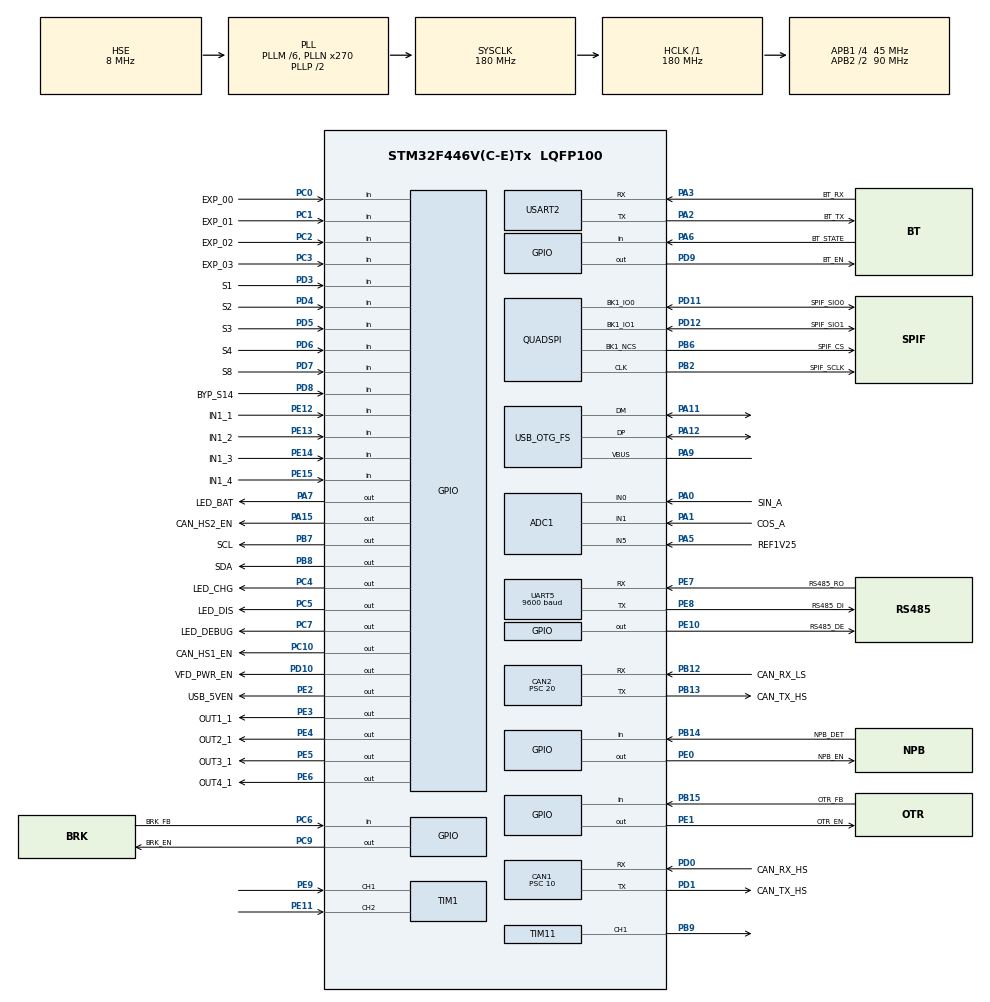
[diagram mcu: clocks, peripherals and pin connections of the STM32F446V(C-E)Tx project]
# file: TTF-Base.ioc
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ADC1.Channel-3\#ChannelRegularConversion=ADC_CHANNEL_1
ADC1.NbrOfConversionFlag=1
ADC1.Rank-3\#ChannelRegularConversion=1
ADC1.SamplingTime-3\#ChannelRegularConversion=ADC_SAMPLETIME_3CYCLES
ADC1.master=1
CAN1.ABOM=ENABLE
CAN1.AWUM=DISABLE
CAN1.BS1=CAN_BS1_15TQ
CAN1.BS2=CAN_BS2_2TQ
CAN1.CalculateBaudRate=250000
CAN1.CalculateTimeBit=4000
CAN1.CalculateTimeQuantum=222.22222222222223
CAN1.Mode=CAN_MODE_NORMAL
CAN1.NART=ENABLE
CAN1.Prescaler=10
CAN1.SJW=CAN_SJW_1TQ
CAN2.ABOM=ENABLE
CAN2.AWUM=DISABLE
CAN2.BS1=CAN_BS1_15TQ
CAN2.BS2=CAN_BS2_2TQ
CAN2.CalculateBaudRate=125000
CAN2.CalculateTimeBit=8000
CAN2.CalculateTimeQuantum=444.44444444444446
CAN2.NART=ENABLE
CAN2.Prescaler=20
Mcu.Family=STM32F4
Mcu.Name=STM32F446V(C-E)Tx
Mcu.Package=LQFP100
NVIC.CAN1_RX0_IRQn=true\:0\:0\:false\:false\:true\:true\:true\:true
NVIC.CAN1_RX1_IRQn=true\:0\:0\:false\:false\:true\:true\:true\:true
NVIC.CAN1_SCE_IRQn=true\:0\:0\:false\:false\:true\:true\:true\:true
NVIC.CAN1_TX_IRQn=true\:0\:0\:false\:false\:true\:true\:true\:true
NVIC.CAN2_RX0_IRQn=true\:0\:0\:false\:false\:true\:true\:true\:true
NVIC.CAN2_RX1_IRQn=true\:0\:0\:false\:false\:true\:true\:true\:true
NVIC.CAN2_SCE_IRQn=true\:0\:0\:false\:false\:true\:true\:true\:true
NVIC.CAN2_TX_IRQn=true\:0\:0\:false\:false\:true\:true\:true\:true
NVIC.OTG_FS_IRQn=true\:0\:0\:false\:false\:true\:false\:true\:true
NVIC.PriorityGroup=NVIC_PRIORITYGROUP_4
NVIC.UART5_IRQn=true\:0\:0\:false\:false\:true\:true\:true\:true
PA0-WKUP.GPIO_Label=SIN_A
PA0-WKUP.Signal=ADCx_IN0
PA1.GPIO_Label=COS_A
PA1.Signal=ADCx_IN1
PA11.Mode=Device_Only
PA11.Signal=USB_OTG_FS_DM
PA12.Mode=Device_Only
PA12.Signal=USB_OTG_FS_DP
PA13.Mode=Serial_Wire
PA13.Signal=SYS_JTMS-SWDIO
PA14.Mode=Serial_Wire
PA14.Signal=SYS_JTCK-SWCLK
PA15.GPIO_Label=CAN_HS2_EN
PA15.Signal=GPIO_Output
PA2.GPIO_Label=BT_TX
PA2.Mode=Asynchronous
PA2.Signal=USART2_TX
PA3.GPIO_Label=BT_RX
PA3.GPIO_PuPd=GPIO_PULLUP
PA3.Mode=Asynchronous
PA3.Signal=USART2_RX
PA5.GPIO_Label=REF1V25
PA5.Signal=ADCx_IN5
PA6.GPIO_Label=BT_STATE
PA6.Signal=GPIO_Input
PA7.GPIO_Label=LED_BAT
PA7.Signal=GPIO_Output
PA9.Mode=Activate_VBUS
PA9.Signal=USB_OTG_FS_VBUS
PB12.GPIO_Label=CAN_RX_LS
PB12.Mode=CAN_Activate
PB12.Signal=CAN2_RX
PB13.GPIO_Label=CAN_TX_HS
PB13.Mode=CAN_Activate
PB13.Signal=CAN2_TX
PB14.GPIO_Label=NPB_DET
PB14.GPIO_PuPd=GPIO_NOPULL
PB14.Signal=GPIO_Input
PB15.GPIO_Label=OTR_FB
PB15.GPIO_PuPd=GPIO_PULLDOWN
PB15.Signal=GPIO_Input
PB2.GPIO_Label=SPIF_SCLK
PB2.Mode=Single Bank 1 2IOs
PB2.Signal=QUADSPI_CLK
PB6.GPIO_Label=SPIF_CS
PB6.Mode=Single Bank 1 2IOs
PB6.Signal=QUADSPI_BK1_NCS
PB7.GPIO_Label=SCL
PB7.GPIO_ModeDefaultOutputPP=GPIO_MODE_OUTPUT_OD
PB7.GPIO_PuPd=GPIO_PULLUP
PB7.GPIO_Speed=GPIO_SPEED_FREQ_VERY_HIGH
PB7.PinState=GPIO_PIN_SET
PB7.Signal=GPIO_Output
PB8.GPIO_Label=SDA
PB8.GPIO_ModeDefaultOutputPP=GPIO_MODE_OUTPUT_OD
PB8.GPIO_PuPd=GPIO_PULLUP
PB8.GPIO_Speed=GPIO_SPEED_FREQ_VERY_HIGH
PB8.PinState=GPIO_PIN_SET
PB8.Signal=GPIO_Output
PB9.Signal=S_TIM11_CH1
PC0.GPIO_Label=EXP_00
PC0.Signal=GPIO_Input
PC1.GPIO_Label=EXP_01
PC1.Signal=GPIO_Input
PC10.GPIO_Label=CAN_HS1_EN
PC10.Signal=GPIO_Output
PC2.GPIO_Label=EXP_02
PC2.Signal=GPIO_Input
PC3.GPIO_Label=EXP_03
PC3.Signal=GPIO_Input
PC4.GPIO_Label=LED_CHG
PC4.Signal=GPIO_Output
PC5.GPIO_Label=LED_DIS
PC5.Signal=GPIO_Output
PC6.GPIO_Label=BRK_FB
PC6.GPIO_PuPd=GPIO_PULLDOWN
PC6.Signal=GPIO_Input
PC7.GPIO_Label=LED_DEBUG
PC7.Signal=GPIO_Output
PC9.GPIO_Label=BRK_EN
PC9.Signal=GPIO_Output
PD0.GPIO_Label=CAN_RX_HS
PD0.Mode=CAN_Activate
PD0.Signal=CAN1_RX
PD1.GPIO_Label=CAN_TX_HS
PD1.Mode=CAN_Activate
PD1.Signal=CAN1_TX
PD10.GPIO_Label=VFD_PWR_EN
PD10.Signal=GPIO_Output
PD11.GPIO_Label=SPIF_SIO0
PD11.Mode=Single Bank 1 2IOs
PD11.Signal=QUADSPI_BK1_IO0
PD12.GPIO_Label=SPIF_SIO1
PD12.GPIO_PuPd=GPIO_NOPULL
PD12.Mode=Single Bank 1 2IOs
PD12.Signal=QUADSPI_BK1_IO1
PD3.GPIO_Label=S1
PD3.Signal=GPIO_Input
PD4.GPIO_Label=S2
PD4.Signal=GPIO_Input
PD5.GPIO_Label=S3
PD5.Signal=GPIO_Input
PD6.GPIO_Label=S4
PD6.Signal=GPIO_Input
PD7.GPIO_Label=S8
PD7.Signal=GPIO_Input
PD8.GPIO_Label=BYP_S14
PD8.Signal=GPIO_Input
PD9.GPIO_Label=BT_EN
PD9.Signal=GPIO_Output
PE0.GPIO_Label=NPB_EN
PE0.Signal=GPIO_Output
PE1.GPIO_Label=OTR_EN
PE1.Signal=GPIO_Output
PE10.GPIO_Label=RS485_DE
PE10.Signal=GPIO_Output
PE11.Signal=S_TIM1_CH2
PE12.GPIO_Label=IN1_1
PE12.Signal=GPIO_Input
PE13.GPIO_Label=IN1_2
PE13.Signal=GPIO_Input
PE14.GPIO_Label=IN1_3
PE14.Signal=GPIO_Input
PE15.GPIO_Label=IN1_4
PE15.Signal=GPIO_Input
PE2.GPIO_Label=USB_5VEN
PE2.Signal=GPIO_Output
PE3.GPIO_Label=OUT1_1
PE3.Signal=GPIO_Output
PE4.GPIO_Label=OUT2_1
PE4.Signal=GPIO_Output
PE5.GPIO_Label=OUT3_1
PE5.Signal=GPIO_Output
PE6.GPIO_Label=OUT4_1
PE6.Signal=GPIO_Output
PE7.GPIO_Label=RS485_RO
PE7.GPIO_PuPd=GPIO_PULLUP
PE7.Mode=Asynchronous
PE7.Signal=UART5_RX
PE8.GPIO_Label=RS485_DI
PE8.Mode=Asynchronous
PE8.Signal=UART5_TX
PE9.Signal=S_TIM1_CH1
PH0-OSC_IN.Mode=HSE-External-Oscillator
PH0-OSC_IN.Signal=RCC_OSC_IN
PH1-OSC_OUT.Mode=HSE-External-Oscillator
PH1-OSC_OUT.Signal=RCC_OSC_OUT
ProjectManager.HeapSize=0x200
ProjectManager.StackSize=0x400
ProjectManager.TargetToolchain=STM32CubeIDE
QUADSPI.ChipSelectHighTime=QSPI_CS_HIGH_TIME_2_CYCLE
QUADSPI.ClockMode=QSPI_CLOCK_MODE_0
QUADSPI.ClockPrescaler=8
QUADSPI.FlashSize=20
QUADSPI.SampleShifting=QSPI_SAMPLE_SHIFTING_HALFCYCLE
RCC.AHBFreq_Value=180000000
RCC.APB1CLKDivider=RCC_HCLK_DIV4
RCC.APB1Freq_Value=45000000
RCC.APB1TimFreq_Value=90000000
RCC.APB2CLKDivider=RCC_HCLK_DIV2
RCC.APB2Freq_Value=90000000
RCC.APB2TimCLKDivider=1
RCC.APB2TimFreq_Value=90000000
RCC.CortexFreq_Value=180000000
RCC.HCLKFreq_Value=180000000
RCC.HSE_Timout=100
RCC.HSE_VALUE=8000000
RCC.PLLM=6
RCC.PLLN=270
RCC.PLLQ=8
RCC.PLLSAIM=8
RCC.PLLSAIP=RCC_PLLSAIP_DIV4
RCC.PLLSourceVirtual=RCC_PLLSOURCE_HSE
RCC.SYSCLKFreq_VALUE=180000000
RCC.SYSCLKSource=RCC_SYSCLKSOURCE_PLLCLK
RCC.USBCLockSelection=RCC_CLK48CLKSOURCE_PLLSAIP
RCC.USBFreq_Value=48000000
RCC.VCOOutputFreq_Value=360000000
SH.ADCx_IN0.0=ADC1_IN0,IN0
SH.ADCx_IN1.0=ADC1_IN1,IN1
SH.ADCx_IN5.0=ADC1_IN5,IN5
SH.S_TIM11_CH1.0=TIM11_CH1,PWM Generation1 CH1
SH.S_TIM1_CH1.0=TIM1_CH1,Encoder_Interface
SH.S_TIM1_CH2.0=TIM1_CH2,Encoder_Interface
TIM1.EncoderMode=TIM_ENCODERMODE_TI12
TIM1.IC1Filter=10
TIM1.IC1Polarity=TIM_ICPOLARITY_RISING
TIM1.IC2Filter=10
TIM1.IC2Polarity=TIM_ICPOLARITY_RISING
TIM11.Channel=TIM_CHANNEL_1
TIM6.Prescaler=89
UART5.BaudRate=9600
UART5.Parity=PARITY_EVEN
UART5.VirtualMode=Asynchronous
UART5.WordLength=WORDLENGTH_9B
USART2.VirtualMode=VM_ASYNC
USB_DEVICE.CLASS_NAME_FS=CDC
USB_DEVICE.VirtualMode-CDC_FS=Cdc
USB_DEVICE.VirtualModeFS=Cdc_FS
USB_OTG_FS.VirtualMode=Device_Only
VP_IWDG_VS_IWDG.Mode=IWDG_Activate
VP_TIM11_VS_ClockSourceINT.Mode=Enable_Timer
VP_TIM6_VS_ClockSourceINT.Mode=Enable_Timer
VP_USB_DEVICE_VS_USB_DEVICE_CDC_FS.Mode=CDC_FS
board=custom

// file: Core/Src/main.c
/* USER CODE BEGIN Header */
/**
  ******************************************************************************
  * @file           : main.c
  * @brief          : Main program body
  ******************************************************************************
  * @attention
  *
  * Copyright (c) 2026 STMicroelectronics.
  * All rights reserved.
  *
  * This software is licensed under terms that can be found in the LICENSE file
  * in the root directory of this software component.
  * If no LICENSE file comes with this software, it is provided AS-IS.
  *
  ******************************************************************************
  */
/* USER CODE END Header */
#include "main.h"
#include "battery.h"

/* USER CODE BEGIN Includes */
#include "i2c_bb.h"
#include "HMI.h"
#include "timer.h"
#include "pmode.h"
#include "application.h"
/* USER CODE END Includes */

ADC_HandleTypeDef hadc1;

CAN_HandleTypeDef hcan1;
CAN_HandleTypeDef hcan2;

IWDG_HandleTypeDef hiwdg;

QSPI_HandleTypeDef hqspi;

TIM_HandleTypeDef htim1;
TIM_HandleTypeDef htim6;
TIM_HandleTypeDef htim11;

UART_HandleTypeDef huart5;
UART_HandleTypeDef huart2;

/* USER CODE BEGIN PV */
uint32_t timestamp;

/* USER CODE END PV */

void SystemClock_Config(void);
static void MX_GPIO_Init(void);
static void MX_QUADSPI_Init(void);
static void MX_TIM1_Init(void);
static void MX_TIM11_Init(void);
static void MX_UART5_Init(void);
static void MX_USART2_UART_Init(void);
static void MX_ADC1_Init(void);
static void MX_CAN1_Init(void);
static void MX_CAN2_Init(void);
static void MX_TIM6_Init(void);
static void MX_IWDG_Init(void);

int main(void)
{

  /* USER CODE BEGIN 1 */
    __enable_irq();
  /* USER CODE END 1 */

  /* MCU Configuration--------------------------------------------------------*/

  /* Reset of all peripherals, Initializes the Flash interface and the Systick. */
  HAL_Init();

  /* USER CODE BEGIN Init */
  HAL_NVIC_SetPriority(SysTick_IRQn, 0, 0); // Forza la priorità massima al tick

  /* USER CODE END Init */

  /* Configure the system clock */
  SystemClock_Config();

  /* Initialize all configured peripherals */
  MX_GPIO_Init();
  MX_QUADSPI_Init();
  MX_TIM1_Init();
  MX_TIM11_Init();
  MX_UART5_Init();
  MX_USART2_UART_Init();
  MX_ADC1_Init();
  MX_CAN1_Init();
  MX_CAN2_Init();
  MX_TIM6_Init();
  MX_IWDG_Init();
  /* USER CODE BEGIN 2 */

  HAL_TIM_Encoder_Start(&htim1, TIM_CHANNEL_ALL);
  HAL_TIM_Base_Start(&htim6);

  hmi_init_bb();

  /* Filtri CAN: servono i PDO dal VFD e la mailbox del caricabatterie */
  /* Per poter usare entrambe le fifo bisogna usare due filter bank distinti */
  /* Bank 0/1: risposte da caricabatteria, 00C01xx */
  CAN_FilterTypeDef filt_cfg = {
      .FilterBank = 0,
      .FilterIdHigh = 0x0000,
      .FilterIdLow = 0x0000,
      .FilterMaskIdHigh = 0x0000,
      .FilterMaskIdLow = 0x0000,
      .FilterFIFOAssignment = CAN_FILTER_FIFO0,
      .FilterMode = CAN_FILTERMODE_IDMASK,
      .FilterScale = CAN_FILTERSCALE_32BIT,
      .FilterActivation = CAN_FILTER_ENABLE,
      .SlaveStartFilterBank = 13,
  };
  HAL_CAN_ConfigFilter(&hcan1, &filt_cfg);
  filt_cfg.FilterBank = 1,
  filt_cfg.FilterFIFOAssignment = CAN_FILTER_FIFO1;
  HAL_CAN_ConfigFilter(&hcan1, &filt_cfg);

  /* Bank 2/3: PDO e beat da VFD: 181, 281, 381, 701 */
  filt_cfg.FilterScale = CAN_FILTERSCALE_16BIT;
  filt_cfg.FilterBank = 2;
  filt_cfg.FilterFIFOAssignment = CAN_FILTER_FIFO0;
  HAL_CAN_ConfigFilter(&hcan1, &filt_cfg);
  filt_cfg.FilterBank = 3;
  filt_cfg.FilterFIFOAssignment = CAN_FILTER_FIFO1;
  HAL_CAN_ConfigFilter(&hcan1, &filt_cfg);

  /* le prime 13 bank sono per CAN1, le altre per CAN2*/
  /* bank 14 per CAN2 UDEC C/CX e L2D
   * NOTA: quando si configura CAN2 bisogna ri-specificare
   * lo slave filter bank */
  filt_cfg.SlaveStartFilterBank = 13;

  filt_cfg.FilterScale = CAN_FILTERSCALE_32BIT;
  filt_cfg.FilterBank = 14;
  filt_cfg.FilterFIFOAssignment = CAN_FILTER_FIFO0;
  HAL_CAN_ConfigFilter(&hcan2, &filt_cfg);

  filt_cfg.FilterScale = CAN_FILTERSCALE_32BIT;
  filt_cfg.FilterBank = 15;
  filt_cfg.FilterFIFOAssignment = CAN_FILTER_FIFO1;
  HAL_CAN_ConfigFilter(&hcan2, &filt_cfg);

  tmr_config(TMR_ID_VFD_OFFLINE, TMR_TYPE_IEC_TON, 200);
  tmr_config(TMR_ID_VFD_MASTER_HB, TMR_TYPE_IEC_TON, 50);

  tmr_config(TMR_ID_UDEC_C_OFFLINE, TMR_TYPE_IEC_TON, 1500);
  tmr_config(TMR_ID_UDEC_CX_OFFLINE, TMR_TYPE_IEC_TON, 500);
  tmr_config(TMR_ID_NPB_SCAN, TMR_TYPE_D1, 200);
  tmr_config(TMR_ID_PMODE_TO_CHARGER, TMR_TYPE_IEC_TON, TIMEOUT_PMODE_TO_CHARGER);
  tmr_config(TMR_ID_PMODE_TO_DRIVE, TMR_TYPE_IEC_TON, TIMEOUT_PMODE_TO_DRIVE);
  tmr_config(TMR_ID_PMODE_WAIT_TO_CHARGER, TMR_TYPE_IEC_TON, TIMEOUT_PMODE_WAIT_TO_CHARGER);
  tmr_config(TMR_ID_MACH_PARK_TIME, TMR_TYPE_IEC_TON, TIMEOUT_MACH_PARK_TIME);
  tmr_config(TMR_ID_MACH_DOOR_TIME, TMR_TYPE_IEC_TON, TIMEOUT_MACH_DOOR_TIME);

  tmr_config(TMR_ID_HMI_RESET_TIMEOUT, TMR_TYPE_IEC_TON, TIMEOUT_HMI_RESET);
  tmr_config(TMR_ID_COP_RESET_TIMEOUT, TMR_TYPE_IEC_TON, TIMEOUT_COP_RESET);
  tmr_config(TMR_ID_OCC_TIMEOUT, TMR_TYPE_IEC_TOF, TIMEOUT_OCC);
  tmr_config(TMR_ID_LOCK_DELAY_OP, TMR_TYPE_IEC_TON, TIMEOUT_LOCK_DELAY_OP);
  tmr_config(TMR_ID_LOCK_DELAY_CL, TMR_TYPE_IEC_TON, TIMEOUT_LOCK_DELAY_CL);
  tmr_config(TMR_ID_VFD_RESET_DELAY, TMR_TYPE_IEC_TON, TIMEOUT_VFD_ON_RESTART);
  tmr_config(TMR_ID_NMT_PERIOD, TMR_TYPE_D1, TIMEOUT_NMT_PERIOD);
  tmr_config(TMR_ID_BUTTONS_LED, TMR_TYPE_IEC_TON, 500);
  tmr_config(TMR_ID_UNLOCK_TIMEOUT, TMR_TYPE_IEC_TON, 5000);
  tmr_config(TMR_ID_LOCK_TIMEOUT, TMR_TYPE_IEC_TON, 5000);

  /* tempo intervento rele */
  tmr_config(TMR_ID_OTR_REL, TMR_TYPE_IEC_TON, TIMEOUT_RELAY_SWITCH);
  tmr_config(TMR_ID_BRK_REL, TMR_TYPE_IEC_TON, TIMEOUT_RELAY_SWITCH);
  tmr_config(TMR_ID_FBK_BOT_REL, TMR_TYPE_IEC_TON, TIMEOUT_MIRROR_SWITCH);
  tmr_config(TMR_ID_FBK_TOP_REL, TMR_TYPE_IEC_TON, TIMEOUT_MIRROR_SWITCH);
  tmr_config(TMR_ID_VFD_OUTPUT_SWITCH, TMR_TYPE_IEC_TON, TIMEOUT_RELAY_SWITCH);
  tmr_config(TMR_ID_VFD_OUTPUT_DELAY, TMR_TYPE_IEC_TON, TIMEOUT_VFD_OUTPUT_DELAY);
  tmr_config(TMR_ID_NPB_CURRENT_REG, TMR_TYPE_D1, TIMEOUT_NPB_CURRENT_REG);
  /* Il timeout arresto motore è pari al 150% del tempo massimo
   * comandato. Attenzione che il VFD ha unità di 100 ms mentre qui si
   * lavora con 1 ms. Viene calcolato dinamicamente quando viene
   * calcolato lo stop, questo valore non è significativo. */
  tmr_config(TMR_ID_STOP_TIMEOUT, TMR_TYPE_IEC_TON, 200);

  tmr_config(TMR_ID_L2D_0_OFFLINE, TMR_TYPE_IEC_TON, 2000);
  tmr_config(TMR_ID_L2D_8_OFFLINE, TMR_TYPE_IEC_TON, 2000);

  /* tempo sincronizzazione messaggi can */
  tmr_config(TMR_ID_ERR_SYNC, TMR_TYPE_IEC_TON, 1000);
  tmr_config(TMR_ID_DOORUNLOCK_DELAY, TMR_TYPE_IEC_TON, 1500);
  tmr_config(TMR_ID_TRIP_DISPLAY, TMR_TYPE_D1, TIMEOUT_TRIP_DISPLAY);
  tmr_config(TMR_ID_BRAKE_RELEASE, TMR_TYPE_IEC_TON, TIMEOUT_BRAKE_RELEASE);
  tmr_config(TMR_ID_DOOR_APPROACH, TMR_TYPE_IEC_TON, TIMEOUT_DOOR_APPROACH);

  tmr_config(TMR_ID_L2D_0_OFFLINE, TMR_TYPE_IEC_TON, 2000);
  tmr_config(TMR_ID_L2D_8_OFFLINE, TMR_TYPE_IEC_TON, 2000);

  HAL_CAN_Start(&hcan1);
  HAL_CAN_Start(&hcan2);

  /* se leggo a polling il CAN non devo usare questo altrimenti mi svuota i buffer */
//  HAL_CAN_ActivateNotification(&hcan1, CAN_IT_RX_FIFO0_MSG_PENDING);

  /* USER CODE END 2 */

  /* Infinite loop */
  /* USER CODE BEGIN WHILE */
//    __enable_irq();
  while (1)
  {
      HAL_IWDG_Refresh(&hiwdg);
      main_loop();
    /* USER CODE END WHILE */

  }
}

void SystemClock_Config(void)
{
  RCC_OscInitTypeDef RCC_OscInitStruct = {0};
  RCC_ClkInitTypeDef RCC_ClkInitStruct = {0};

  /** Configure the main internal regulator output voltage
  */
  __HAL_RCC_PWR_CLK_ENABLE();
  __HAL_PWR_VOLTAGESCALING_CONFIG(PWR_REGULATOR_VOLTAGE_SCALE1);

  /** Initializes the RCC Oscillators according to the specified parameters
  * in the RCC_OscInitTypeDef structure.
  */
  RCC_OscInitStruct.OscillatorType = RCC_OSCILLATORTYPE_LSI|RCC_OSCILLATORTYPE_HSE;
  RCC_OscInitStruct.HSEState = RCC_HSE_ON;
  RCC_OscInitStruct.LSIState = RCC_LSI_ON;
  RCC_OscInitStruct.PLL.PLLState = RCC_PLL_ON;
  RCC_OscInitStruct.PLL.PLLSource = RCC_PLLSOURCE_HSE;
  RCC_OscInitStruct.PLL.PLLM = 6;
  RCC_OscInitStruct.PLL.PLLN = 270;
  RCC_OscInitStruct.PLL.PLLP = RCC_PLLP_DIV2;
  RCC_OscInitStruct.PLL.PLLQ = 8;
  RCC_OscInitStruct.PLL.PLLR = 2;
  if (HAL_RCC_OscConfig(&RCC_OscInitStruct) != HAL_OK)
  {
    Error_Handler();
  }

  /** Activate the Over-Drive mode
  */
  if (HAL_PWREx_EnableOverDrive() != HAL_OK)
  {
    Error_Handler();
  }

  /** Initializes the CPU, AHB and APB buses clocks
  */
  RCC_ClkInitStruct.ClockType = RCC_CLOCKTYPE_HCLK|RCC_CLOCKTYPE_SYSCLK
                              |RCC_CLOCKTYPE_PCLK1|RCC_CLOCKTYPE_PCLK2;
  RCC_ClkInitStruct.SYSCLKSource = RCC_SYSCLKSOURCE_PLLCLK;
  RCC_ClkInitStruct.AHBCLKDivider = RCC_SYSCLK_DIV1;
  RCC_ClkInitStruct.APB1CLKDivider = RCC_HCLK_DIV4;
  RCC_ClkInitStruct.APB2CLKDivider = RCC_HCLK_DIV2;

  if (HAL_RCC_ClockConfig(&RCC_ClkInitStruct, FLASH_LATENCY_5) != HAL_OK)
  {
    Error_Handler();
  }
}

static void MX_ADC1_Init(void)
{

  ADC_ChannelConfTypeDef sConfig = {0};

  /** Configure the global features of the ADC (Clock, Resolution, Data Alignment and number of conversion)
  */
  hadc1.Instance = ADC1;
  hadc1.Init.ClockPrescaler = ADC_CLOCK_SYNC_PCLK_DIV4;
  hadc1.Init.Resolution = ADC_RESOLUTION_12B;
  hadc1.Init.ScanConvMode = DISABLE;
  hadc1.Init.ContinuousConvMode = DISABLE;
  hadc1.Init.DiscontinuousConvMode = DISABLE;
  hadc1.Init.ExternalTrigConvEdge = ADC_EXTERNALTRIGCONVEDGE_NONE;
  hadc1.Init.ExternalTrigConv = ADC_SOFTWARE_START;
  hadc1.Init.DataAlign = ADC_DATAALIGN_RIGHT;
  hadc1.Init.NbrOfConversion = 1;
  hadc1.Init.DMAContinuousRequests = DISABLE;
  hadc1.Init.EOCSelection = ADC_EOC_SINGLE_CONV;
  if (HAL_ADC_Init(&hadc1) != HAL_OK)
  {
    Error_Handler();
  }

  /** Configure for the selected ADC regular channel its corresponding rank in the sequencer and its sample time.
  */
  sConfig.Channel = ADC_CHANNEL_1;
  sConfig.Rank = 1;
  sConfig.SamplingTime = ADC_SAMPLETIME_3CYCLES;
  if (HAL_ADC_ConfigChannel(&hadc1, &sConfig) != HAL_OK)
  {
    Error_Handler();
  }

}

static void MX_CAN1_Init(void)
{

  hcan1.Instance = CAN1;
  hcan1.Init.Prescaler = 10;
  hcan1.Init.Mode = CAN_MODE_NORMAL;
  hcan1.Init.SyncJumpWidth = CAN_SJW_1TQ;
  hcan1.Init.TimeSeg1 = CAN_BS1_15TQ;
  hcan1.Init.TimeSeg2 = CAN_BS2_2TQ;
  hcan1.Init.TimeTriggeredMode = DISABLE;
  hcan1.Init.AutoBusOff = ENABLE;
  hcan1.Init.AutoWakeUp = DISABLE;
  hcan1.Init.AutoRetransmission = ENABLE;
  hcan1.Init.ReceiveFifoLocked = DISABLE;
  hcan1.Init.TransmitFifoPriority = DISABLE;
  if (HAL_CAN_Init(&hcan1) != HAL_OK)
  {
    Error_Handler();
  }

}

static void MX_CAN2_Init(void)
{

  hcan2.Instance = CAN2;
  hcan2.Init.Prescaler = 20;
  hcan2.Init.Mode = CAN_MODE_NORMAL;
  hcan2.Init.SyncJumpWidth = CAN_SJW_1TQ;
  hcan2.Init.TimeSeg1 = CAN_BS1_15TQ;
  hcan2.Init.TimeSeg2 = CAN_BS2_2TQ;
  hcan2.Init.TimeTriggeredMode = DISABLE;
  hcan2.Init.AutoBusOff = ENABLE;
  hcan2.Init.AutoWakeUp = DISABLE;
  hcan2.Init.AutoRetransmission = ENABLE;
  hcan2.Init.ReceiveFifoLocked = DISABLE;
  hcan2.Init.TransmitFifoPriority = DISABLE;
  if (HAL_CAN_Init(&hcan2) != HAL_OK)
  {
    Error_Handler();
  }

}

static void MX_IWDG_Init(void)
{

  hiwdg.Instance = IWDG;
  hiwdg.Init.Prescaler = IWDG_PRESCALER_4;
  hiwdg.Init.Reload = 4095;
  if (HAL_IWDG_Init(&hiwdg) != HAL_OK)
  {
    Error_Handler();
  }

}

static void MX_QUADSPI_Init(void)
{

  /* QUADSPI parameter configuration*/
  hqspi.Instance = QUADSPI;
  hqspi.Init.ClockPrescaler = 8;
  hqspi.Init.FifoThreshold = 1;
  hqspi.Init.SampleShifting = QSPI_SAMPLE_SHIFTING_HALFCYCLE;
  hqspi.Init.FlashSize = 20;
  hqspi.Init.ChipSelectHighTime = QSPI_CS_HIGH_TIME_2_CYCLE;
  hqspi.Init.ClockMode = QSPI_CLOCK_MODE_0;
  hqspi.Init.FlashID = QSPI_FLASH_ID_1;
  hqspi.Init.DualFlash = QSPI_DUALFLASH_DISABLE;
  if (HAL_QSPI_Init(&hqspi) != HAL_OK)
  {
    Error_Handler();
  }

}

static void MX_TIM1_Init(void)
{

  TIM_Encoder_InitTypeDef sConfig = {0};
  TIM_MasterConfigTypeDef sMasterConfig = {0};

  htim1.Instance = TIM1;
  htim1.Init.Prescaler = 0;
  htim1.Init.CounterMode = TIM_COUNTERMODE_UP;
  htim1.Init.Period = 65535;
  htim1.Init.ClockDivision = TIM_CLOCKDIVISION_DIV1;
  htim1.Init.RepetitionCounter = 0;
  htim1.Init.AutoReloadPreload = TIM_AUTORELOAD_PRELOAD_DISABLE;
  sConfig.EncoderMode = TIM_ENCODERMODE_TI12;
  sConfig.IC1Polarity = TIM_ICPOLARITY_RISING;
  sConfig.IC1Selection = TIM_ICSELECTION_DIRECTTI;
  sConfig.IC1Prescaler = TIM_ICPSC_DIV1;
  sConfig.IC1Filter = 10;
  sConfig.IC2Polarity = TIM_ICPOLARITY_RISING;
  sConfig.IC2Selection = TIM_ICSELECTION_DIRECTTI;
  sConfig.IC2Prescaler = TIM_ICPSC_DIV1;
  sConfig.IC2Filter = 10;
  if (HAL_TIM_Encoder_Init(&htim1, &sConfig) != HAL_OK)
  {
    Error_Handler();
  }
  sMasterConfig.MasterOutputTrigger = TIM_TRGO_RESET;
  sMasterConfig.MasterSlaveMode = TIM_MASTERSLAVEMODE_DISABLE;
  if (HAL_TIMEx_MasterConfigSynchronization(&htim1, &sMasterConfig) != HAL_OK)
  {
    Error_Handler();
  }

}

static void MX_TIM6_Init(void)
{

  TIM_MasterConfigTypeDef sMasterConfig = {0};

  htim6.Instance = TIM6;
  htim6.Init.Prescaler = 89;
  htim6.Init.CounterMode = TIM_COUNTERMODE_UP;
  htim6.Init.Period = 65535;
  htim6.Init.AutoReloadPreload = TIM_AUTORELOAD_PRELOAD_DISABLE;
  if (HAL_TIM_Base_Init(&htim6) != HAL_OK)
  {
    Error_Handler();
  }
  sMasterConfig.MasterOutputTrigger = TIM_TRGO_RESET;
  sMasterConfig.MasterSlaveMode = TIM_MASTERSLAVEMODE_DISABLE;
  if (HAL_TIMEx_MasterConfigSynchronization(&htim6, &sMasterConfig) != HAL_OK)
  {
    Error_Handler();
  }

}

static void MX_TIM11_Init(void)
{

  TIM_OC_InitTypeDef sConfigOC = {0};

  htim11.Instance = TIM11;
  htim11.Init.Prescaler = 0;
  htim11.Init.CounterMode = TIM_COUNTERMODE_UP;
  htim11.Init.Period = 65535;
  htim11.Init.ClockDivision = TIM_CLOCKDIVISION_DIV1;
  htim11.Init.AutoReloadPreload = TIM_AUTORELOAD_PRELOAD_DISABLE;
  if (HAL_TIM_Base_Init(&htim11) != HAL_OK)
  {
    Error_Handler();
  }
  if (HAL_TIM_PWM_Init(&htim11) != HAL_OK)
  {
    Error_Handler();
  }
  sConfigOC.OCMode = TIM_OCMODE_PWM1;
  sConfigOC.Pulse = 0;
  sConfigOC.OCPolarity = TIM_OCPOLARITY_HIGH;
  sConfigOC.OCFastMode = TIM_OCFAST_DISABLE;
  if (HAL_TIM_PWM_ConfigChannel(&htim11, &sConfigOC, TIM_CHANNEL_1) != HAL_OK)
  {
    Error_Handler();
  }
  HAL_TIM_MspPostInit(&htim11);

}

static void MX_UART5_Init(void)
{

  huart5.Instance = UART5;
  huart5.Init.BaudRate = 9600;
  huart5.Init.WordLength = UART_WORDLENGTH_9B;
  huart5.Init.StopBits = UART_STOPBITS_1;
  huart5.Init.Parity = UART_PARITY_EVEN;
  huart5.Init.Mode = UART_MODE_TX_RX;
  huart5.Init.HwFlowCtl = UART_HWCONTROL_NONE;
  huart5.Init.OverSampling = UART_OVERSAMPLING_16;
  if (HAL_UART_Init(&huart5) != HAL_OK)
  {
    Error_Handler();
  }

}

static void MX_USART2_UART_Init(void)
{

  huart2.Instance = USART2;
  huart2.Init.BaudRate = 115200;
  huart2.Init.WordLength = UART_WORDLENGTH_8B;
  huart2.Init.StopBits = UART_STOPBITS_1;
  huart2.Init.Parity = UART_PARITY_NONE;
  huart2.Init.Mode = UART_MODE_TX_RX;
  huart2.Init.HwFlowCtl = UART_HWCONTROL_NONE;
  huart2.Init.OverSampling = UART_OVERSAMPLING_16;
  if (HAL_UART_Init(&huart2) != HAL_OK)
  {
    Error_Handler();
  }

}

static void MX_GPIO_Init(void)
{
  GPIO_InitTypeDef GPIO_InitStruct = {0};

  /* GPIO Ports Clock Enable */
  __HAL_RCC_GPIOE_CLK_ENABLE();
  __HAL_RCC_GPIOH_CLK_ENABLE();
  __HAL_RCC_GPIOC_CLK_ENABLE();
  __HAL_RCC_GPIOA_CLK_ENABLE();
  __HAL_RCC_GPIOB_CLK_ENABLE();
  __HAL_RCC_GPIOD_CLK_ENABLE();

  /*Configure GPIO pin Output Level */
  HAL_GPIO_WritePin(GPIOE, USB_5VEN_Pin|OUT1_1_Pin|OUT2_1_Pin|OUT3_1_Pin
                          |OUT4_1_Pin|RS485_DE_Pin|NPB_EN_Pin|OTR_EN_Pin, GPIO_PIN_RESET);

  /*Configure GPIO pin Output Level */
  HAL_GPIO_WritePin(GPIOA, LED_BAT_Pin|CAN_HS2_EN_Pin, GPIO_PIN_RESET);

  /*Configure GPIO pin Output Level */
  HAL_GPIO_WritePin(GPIOC, LED_CHG_Pin|LED_DIS_Pin|LED_DEBUG_Pin|BRK_EN_Pin
                          |CAN_HS1_EN_Pin, GPIO_PIN_RESET);

  /*Configure GPIO pin Output Level */
  HAL_GPIO_WritePin(GPIOD, BT_EN_Pin|VFD_PWR_EN_Pin, GPIO_PIN_RESET);

  /*Configure GPIO pin Output Level */
  HAL_GPIO_WritePin(GPIOB, SCL_Pin|SDA_Pin, GPIO_PIN_SET);

  /*Configure GPIO pins : USB_5VEN_Pin OUT1_1_Pin OUT2_1_Pin OUT3_1_Pin
                           OUT4_1_Pin RS485_DE_Pin NPB_EN_Pin OTR_EN_Pin */
  GPIO_InitStruct.Pin = USB_5VEN_Pin|OUT1_1_Pin|OUT2_1_Pin|OUT3_1_Pin
                          |OUT4_1_Pin|RS485_DE_Pin|NPB_EN_Pin|OTR_EN_Pin;
  GPIO_InitStruct.Mode = GPIO_MODE_OUTPUT_PP;
  GPIO_InitStruct.Pull = GPIO_NOPULL;
  GPIO_InitStruct.Speed = GPIO_SPEED_FREQ_LOW;
  HAL_GPIO_Init(GPIOE, &GPIO_InitStruct);

  /*Configure GPIO pins : EXP_00_Pin EXP_01_Pin EXP_02_Pin EXP_03_Pin */
  GPIO_InitStruct.Pin = EXP_00_Pin|EXP_01_Pin|EXP_02_Pin|EXP_03_Pin;
  GPIO_InitStruct.Mode = GPIO_MODE_INPUT;
  GPIO_InitStruct.Pull = GPIO_NOPULL;
  HAL_GPIO_Init(GPIOC, &GPIO_InitStruct);

  /*Configure GPIO pin : BT_STATE_Pin */
  GPIO_InitStruct.Pin = BT_STATE_Pin;
  GPIO_InitStruct.Mode = GPIO_MODE_INPUT;
  GPIO_InitStruct.Pull = GPIO_NOPULL;
  HAL_GPIO_Init(BT_STATE_GPIO_Port, &GPIO_InitStruct);

  /*Configure GPIO pins : LED_BAT_Pin CAN_HS2_EN_Pin */
  GPIO_InitStruct.Pin = LED_BAT_Pin|CAN_HS2_EN_Pin;
  GPIO_InitStruct.Mode = GPIO_MODE_OUTPUT_PP;
  GPIO_InitStruct.Pull = GPIO_NOPULL;
  GPIO_InitStruct.Speed = GPIO_SPEED_FREQ_LOW;
  HAL_GPIO_Init(GPIOA, &GPIO_InitStruct);

  /*Configure GPIO pins : LED_CHG_Pin LED_DIS_Pin LED_DEBUG_Pin BRK_EN_Pin
                           CAN_HS1_EN_Pin */
  GPIO_InitStruct.Pin = LED_CHG_Pin|LED_DIS_Pin|LED_DEBUG_Pin|BRK_EN_Pin
                          |CAN_HS1_EN_Pin;
  GPIO_InitStruct.Mode = GPIO_MODE_OUTPUT_PP;
  GPIO_InitStruct.Pull = GPIO_NOPULL;
  GPIO_InitStruct.Speed = GPIO_SPEED_FREQ_LOW;
  HAL_GPIO_Init(GPIOC, &GPIO_InitStruct);

  /*Configure GPIO pins : IN1_1_Pin IN1_2_Pin IN1_3_Pin IN1_4_Pin */
  GPIO_InitStruct.Pin = IN1_1_Pin|IN1_2_Pin|IN1_3_Pin|IN1_4_Pin;
  GPIO_InitStruct.Mode = GPIO_MODE_INPUT;
  GPIO_InitStruct.Pull = GPIO_NOPULL;
  HAL_GPIO_Init(GPIOE, &GPIO_InitStruct);

  /*Configure GPIO pin : NPB_DET_Pin */
  GPIO_InitStruct.Pin = NPB_DET_Pin;
  GPIO_InitStruct.Mode = GPIO_MODE_INPUT;
  GPIO_InitStruct.Pull = GPIO_NOPULL;
  HAL_GPIO_Init(NPB_DET_GPIO_Port, &GPIO_InitStruct);

  /*Configure GPIO pin : OTR_FB_Pin */
  GPIO_InitStruct.Pin = OTR_FB_Pin;
  GPIO_InitStruct.Mode = GPIO_MODE_INPUT;
  GPIO_InitStruct.Pull = GPIO_PULLDOWN;
  HAL_GPIO_Init(OTR_FB_GPIO_Port, &GPIO_InitStruct);

  /*Configure GPIO pins : BYP_S14_Pin S1_Pin S2_Pin S3_Pin
                           S4_Pin S8_Pin */
  GPIO_InitStruct.Pin = BYP_S14_Pin|S1_Pin|S2_Pin|S3_Pin
                          |S4_Pin|S8_Pin;
  GPIO_InitStruct.Mode = GPIO_MODE_INPUT;
  GPIO_InitStruct.Pull = GPIO_NOPULL;
  HAL_GPIO_Init(GPIOD, &GPIO_InitStruct);

  /*Configure GPIO pins : BT_EN_Pin VFD_PWR_EN_Pin */
  GPIO_InitStruct.Pin = BT_EN_Pin|VFD_PWR_EN_Pin;
  GPIO_InitStruct.Mode = GPIO_MODE_OUTPUT_PP;
  GPIO_InitStruct.Pull = GPIO_NOPULL;
  GPIO_InitStruct.Speed = GPIO_SPEED_FREQ_LOW;
  HAL_GPIO_Init(GPIOD, &GPIO_InitStruct);

  /*Configure GPIO pin : BRK_FB_Pin */
  GPIO_InitStruct.Pin = BRK_FB_Pin;
  GPIO_InitStruct.Mode = GPIO_MODE_INPUT;
  GPIO_InitStruct.Pull = GPIO_PULLDOWN;
  HAL_GPIO_Init(BRK_FB_GPIO_Port, &GPIO_InitStruct);

  /*Configure GPIO pins : SCL_Pin SDA_Pin */
  GPIO_InitStruct.Pin = SCL_Pin|SDA_Pin;
  GPIO_InitStruct.Mode = GPIO_MODE_OUTPUT_OD;
  GPIO_InitStruct.Pull = GPIO_PULLUP;
  GPIO_InitStruct.Speed = GPIO_SPEED_FREQ_VERY_HIGH;
  HAL_GPIO_Init(GPIOB, &GPIO_InitStruct);

}

void Error_Handler(void)
{
  __disable_irq();
  while (1)
  {
  }
}
